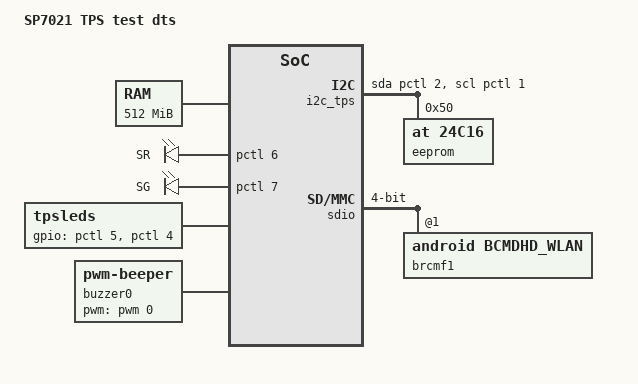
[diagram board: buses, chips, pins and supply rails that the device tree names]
/dts-v1/;

#include "pentagram-sp7021-achip.dtsi"

#include <dt-bindings/interrupt-controller/arm-gic.h>

/ {
	model = "SP7021 TPS test dts";
	compatible = "sunplus,sp7021-achip";

	chosen {
		bootargs = "console=ttyS0,115200 root=/dev/ram rw loglevel=8 earlyprintk";
	};

	memory {
		reg = <0x00000000 0x20000000>; /* 512MB */
	};
};

&rtc {  charging-mode = <0x0E>;  };

&sp_spinor0 {  status = "disabled";  };

&sdio {
 max-frequency = <52000000>; bus-width = <4>; keep-power-in-suspend;
 brcmf1: bcrmf@1 {
   reg = <1>;
   compatible = "android,bcmdhd_wlan"/*"brcm,bcm43xx-fmac"*/;
 };
};

&sp_uphy0 {
  pinctrl-names = "default";
  pinctrl-0 = <&pins_vbus_usb0>;
  vbus-gpio = <&pctl 90 GPIO_ACTIVE_HIGH>;
};

&sp_uphy1 {
  pinctrl-names = "default";
  pinctrl-0 = <&pins_vbus_usb1>;
  vbus-gpio = <&pctl 91 GPIO_ACTIVE_HIGH>;
};

&l2sw {
 pinctrl-names = "default";
 pinctrl-0 = <&ethA_pins &eth0_pins &eth1_pins>;
};

&mmc1 {
 cd-gpio = <&pctl 0 GPIO_ACTIVE_LOW>;
};

&hdmitx {
 pinctrl-names = "default";
 pinctrl-0 = <&hdmi_A_tx1>;
};

&uart1 {
 pinctrl-names = "default";
 pinctrl-0 = <&pins_uart1>;
};
&uart2 {
 pinctrl-names = "default";
 pinctrl-0 = <&pins_uart2>;
};
&uart3 {
 pinctrl-names = "default";
 pinctrl-0 = <&pins_uart3>;
};
&uart4 {
 pinctrl-names = "default";
 /* pinctrl-0 = <&pins_uart4>; */
 pinctrl-0 = <&pins_btuart &pins_bt_reset>;
};

&pctl {
 /*** all non-device binded that you want to set mode ***/
 pinctrl-names = "default";
 pinctrl-0 = <&pins_iopp_nobinded &pins_gpio_nobinded &func_zero>;

 /* detouch any preset pins from this functions */
 func_zero: func_zero {
   sppctl,zero_func = <
     MUXF_L2SW_LED_FLASH0
     MUXF_L2SW_LED_ON0
     MUXF_L2SW_LED_FLASH1
     MUXF_L2SW_LED_ON1
   >;
 };
 
 pins_iopp_nobinded: pins_iopp_nobinded {
    sppctl,pins = <
    /* SP7021_IOPAD(97,SP7021_PCTL_G_IOPP,0,0) */
    >;
 };
 pins_gpio_nobinded: pins_gpio_nobinded {
    sppctl,pins = <
      SP7021_IOPAD(42,SP7021_PCTL_G_GPIO,0,0)   /* was L2SW_LED_FLASH0 */
      SP7021_IOPAD(51,SP7021_PCTL_G_GPIO,0,0)   /* was L2SW_LED_ON0 */
      SP7021_IOPAD(30,SP7021_PCTL_G_GPIO,0,0)   /* was L2SW_LED_FLASH1 */
      SP7021_IOPAD(39,SP7021_PCTL_G_GPIO,0,0)   /* was L2SW_LED_ON1  */
    >;
 };

 pins_vbus_usb0: pins_vbus_usb0 {
	sppctl,pins = <
	  SP7021_IOPAD(90,SP7021_PCTL_G_GPIO,0,SP7021_PCTL_L_OUT)
	>;
 };
 pins_vbus_usb1: pins_vbus_usb1 {
    sppctl,pins = <
	  SP7021_IOPAD(91,SP7021_PCTL_G_GPIO,0,SP7021_PCTL_L_OUT)
	>;
 };

 leds_s0_def: user_leds_s0_def {
    sppctl,pins = <
      SP7021_IOPAD(6,SP7021_PCTL_G_GPIO,MUXF_GPIO,SP7021_PCTL_L_INV)
      SP7021_IOPAD(7,SP7021_PCTL_G_GPIO,0,SP7021_PCTL_L_INV)
    >;
 };
 leds_s0_slp: user_leds_s0_slp {
    sppctl,pins = <
      SP7021_IOPAD(6,SP7021_PCTL_G_GPIO,0,0)
      SP7021_IOPAD(7,SP7021_PCTL_G_GPIO,0,0)
    >;
 };
 tpsleds_pins: user_tpsleds_pins {
    sppctl,pins = <
      SP7021_IOPAD(4,SP7021_PCTL_G_GPIO,0,0)
      SP7021_IOPAD(5,SP7021_PCTL_G_GPIO,0,0)
    >;
 };
 pins_uart1: pins_uart1 {
    sppctl,pins = <
      SP7021_IOPAD(8,SP7021_PCTL_G_PMUX,MUXF_UA1_TX,0)
      SP7021_IOPAD(9,SP7021_PCTL_G_PMUX,MUXF_UA1_RX,0)
      SP7021_IOPAD(10,SP7021_PCTL_G_PMUX,MUXF_UA1_RTS,0)
      SP7021_IOPAD(11,SP7021_PCTL_G_PMUX,MUXF_UA1_CTS,0)
    >;
 };
 pins_uart2: pins_uart2 {
    sppctl,pins = <
      SP7021_IOPAD(12,SP7021_PCTL_G_PMUX,MUXF_UA2_TX,0)
      SP7021_IOPAD(13,SP7021_PCTL_G_PMUX,MUXF_UA2_RX,0)
      SP7021_IOPAD(14,SP7021_PCTL_G_PMUX,MUXF_UA2_RTS,0)
      SP7021_IOPAD(15,SP7021_PCTL_G_PMUX,MUXF_UA2_CTS,0)
    >;
 };
 pins_uart3: pins_uart3 {
    sppctl,pins = <
      SP7021_IOPAD(16,SP7021_PCTL_G_PMUX,MUXF_UA3_TX,0)
      SP7021_IOPAD(17,SP7021_PCTL_G_PMUX,MUXF_UA3_RX,0)
      SP7021_IOPAD(18,SP7021_PCTL_G_PMUX,MUXF_UA3_RTS,0)
      SP7021_IOPAD(19,SP7021_PCTL_G_PMUX,MUXF_UA3_CTS,0)
    >;
 };
 pins_uart4: pins_uart4 {
    sppctl,pins = <
      SP7021_IOPAD(20,SP7021_PCTL_G_PMUX,MUXF_UA4_TX,0)
      SP7021_IOPAD(21,SP7021_PCTL_G_PMUX,MUXF_UA4_RX,0)
      SP7021_IOPAD(22,SP7021_PCTL_G_PMUX,MUXF_UA4_RTS,0)
      SP7021_IOPAD(23,SP7021_PCTL_G_PMUX,MUXF_UA4_CTS,0)
    >;
 };
 pins_btuart: pins_btuart {
    sppctl,pins = <
      SP7021_IOPAD(40,SP7021_PCTL_G_PMUX,MUXF_UA4_RX,0)
      SP7021_IOPAD(41,SP7021_PCTL_G_PMUX,MUXF_UA4_TX,0)
      SP7021_IOPAD(82,SP7021_PCTL_G_PMUX,MUXF_UA4_RTS,SP7021_PCTL_L_ONV)
      SP7021_IOPAD(83,SP7021_PCTL_G_PMUX,MUXF_UA4_CTS,0)
    >;
 };
 pins_bt_reset: pins_bt_reset {
    sppctl,pins = <
      SP7021_IOPAD(36,SP7021_PCTL_G_GPIO,0,0)
    >;
 };
 buzzer0_pins: user_buzzer0_pins {
    sppctl,pins = <
      SP7021_IOPAD(48,SP7021_PCTL_G_PMUX,MUXF_PWM0,0)
    >;
 };
 pins_i2ctps: pins_i2ctps {
    sppctl,pins = <
      SP7021_IOPAD(1,SP7021_PCTL_G_GPIO,0,SP7021_PCTL_L_OUT|SP7021_PCTL_L_ONV|SP7021_PCTL_L_ODR)
      SP7021_IOPAD(2,SP7021_PCTL_G_GPIO,0,SP7021_PCTL_L_OUT|SP7021_PCTL_L_ONV|SP7021_PCTL_L_ODR)
    >;
 };
 hdmi_A_tx1: hdmi_A_tx1_pins {
    sppctl,groups = "HDMI_TX1";
    sppctl,function = "HDMI_TX";
 };
 /* for all eth */
 ethA_pins: pinmux_ethA_pins {
  sppctl,pins = <
       SP7021_IOPAD(63,SP7021_PCTL_G_PMUX,MUXF_L2SW_CLK_OUT,0)
       SP7021_IOPAD(71,SP7021_PCTL_G_PMUX,MUXF_L2SW_MAC_SMI_MDC,0)
       SP7021_IOPAD(64,SP7021_PCTL_G_PMUX,MUXF_L2SW_MAC_SMI_MDIO,0)
  >;
 };
 eth0_pins: pinmux_eth0_pins {
  sppctl,pins = <
       SP7021_IOPAD(62,SP7021_PCTL_G_PMUX,MUXF_L2SW_P0_MAC_RMII_TXEN,0)
       SP7021_IOPAD(61,SP7021_PCTL_G_PMUX,MUXF_L2SW_P0_MAC_RMII_TXD0,0)
       SP7021_IOPAD(60,SP7021_PCTL_G_PMUX,MUXF_L2SW_P0_MAC_RMII_TXD1,0)
       SP7021_IOPAD(59,SP7021_PCTL_G_PMUX,MUXF_L2SW_P0_MAC_RMII_CRSDV,0)
       SP7021_IOPAD(58,SP7021_PCTL_G_PMUX,MUXF_L2SW_P0_MAC_RMII_RXD0,0)
       SP7021_IOPAD(57,SP7021_PCTL_G_PMUX,MUXF_L2SW_P0_MAC_RMII_RXD1,0)
       SP7021_IOPAD(56,SP7021_PCTL_G_PMUX,MUXF_L2SW_P0_MAC_RMII_RXER,0)
  >;
 };
 eth1_pins: pinmux_eth1_pins {
  sppctl,pins = <
       SP7021_IOPAD(55,SP7021_PCTL_G_PMUX,MUXF_L2SW_P1_MAC_RMII_TXEN,0)
       SP7021_IOPAD(54,SP7021_PCTL_G_PMUX,MUXF_L2SW_P1_MAC_RMII_TXD0,0)
       SP7021_IOPAD(53,SP7021_PCTL_G_PMUX,MUXF_L2SW_P1_MAC_RMII_TXD1,0)
       SP7021_IOPAD(52,SP7021_PCTL_G_PMUX,MUXF_L2SW_P1_MAC_RMII_CRSDV,0)
       SP7021_IOPAD(51,SP7021_PCTL_G_PMUX,MUXF_L2SW_P1_MAC_RMII_RXD0,0)
       SP7021_IOPAD(50,SP7021_PCTL_G_PMUX,MUXF_L2SW_P1_MAC_RMII_RXD1,0)
       SP7021_IOPAD(49,SP7021_PCTL_G_PMUX,MUXF_L2SW_P1_MAC_RMII_RXER,0)
  >;
 };

 mmc1_mux: mmc1_mux {
	sppctl,groups = "SD_CARD";
	sppctl,function = "SD_CARD";
	sppctl,pins = < SP7021_IOPAD(0,SP7021_PCTL_G_GPIO,0,0) >;
 };
 pins_sdio: pins_sdio {
	sppctl,pins = <
		SP7021_IOPAD(44,SP7021_PCTL_G_PMUX,MUXF_SDIO_D1,0)
		SP7021_IOPAD(45,SP7021_PCTL_G_PMUX,MUXF_SDIO_D0,0)
		SP7021_IOPAD(46,SP7021_PCTL_G_PMUX,MUXF_SDIO_CLK,0)
		SP7021_IOPAD(47,SP7021_PCTL_G_PMUX,MUXF_SDIO_CMD,0)
		SP7021_IOPAD(42,SP7021_PCTL_G_PMUX,MUXF_SDIO_D3,0)
		SP7021_IOPAD(43,SP7021_PCTL_G_PMUX,MUXF_SDIO_D2,0) >;
 };

};

/ {
	soc@B {
		tpsid {
        	    compatible = "tpsid";
		    nvmem-cell-names = "mac_addr0";
		    nvmem-cells = <&mac_addr0>;
		};
		leds {
		    pinctrl-names = "default", "sleep";
		    pinctrl-0 = <&leds_s0_def>;
		    pinctrl-1 = <&leds_s0_slp>;
		    compatible = "gpio-leds";
		    led@1 {
			label = "SR";
			gpios = <&pctl 6 GPIO_ACTIVE_HIGH>;
			linux,default-trigger = "heartbeat";
			default-state = "off";
		    };
		    led@2 {
			label = "SG";
			gpios = <&pctl 7 GPIO_ACTIVE_HIGH>;
			linux,default-trigger = "mmc0";
			default-state = "off";
		    };
		};
		tpsleds: tpsleds {
		    compatible = "tpsleds";
		    pinctrl-names = "default";
		    pinctrl-0 = <&tpsleds_pins>;
		    status = "okay";
		    init-val = <0x0>;
		    gpios = <&pctl 5 GPIO_ACTIVE_HIGH
			     &pctl 4 GPIO_ACTIVE_HIGH
		    >;
		};
		buzzer0 {
		    compatible = "pwm-beeper";
		    pinctrl-names = "default";
		    pinctrl-0 = <&buzzer0_pins>;
		    pwms = <&pwm 0 1000000 0>;
		};
		i2c_tps: i2c-tps { /* eeprom */
		    compatible = "i2c-gpio";
		    i2c-gpio,scl-open-drain;
		    i2c-gpio,sda-open-drain;
		    i2c-gpio,delay-us = <1>;/* ~100 kHz */
		    #address-cells = <1>;
		    #size-cells = <0>;
		    pinctrl-names = "default";
		    pinctrl-0 = <&pins_i2ctps>;
		    gpios = <&pctl 2 GPIO_ACTIVE_HIGH     /* SDA */
			     &pctl 1 GPIO_ACTIVE_HIGH     /* SCL */
                    >;
		    eeprom: eeprom@50 {
			compatible = "at,24c16";
			reg = <0x50>;
			pagesize = <16>;
		    };
		};
	};
};
